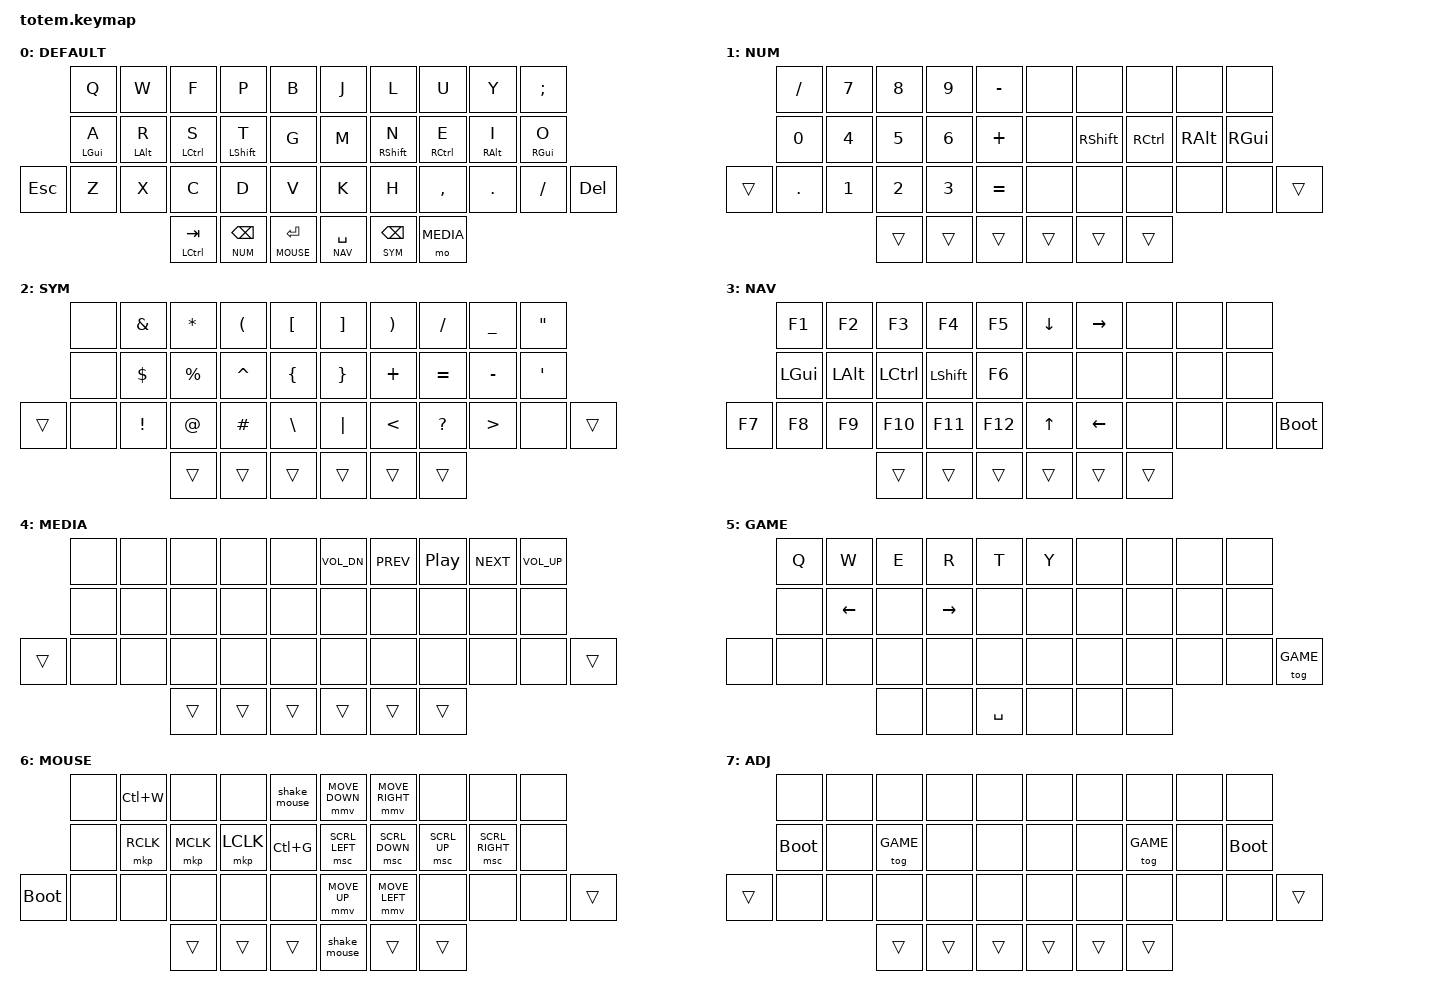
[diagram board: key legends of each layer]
//
//                                                        ▀▀▀▀▀     ▀▀▀▀▀          ▀▀█▀▀
//                                                        ▄▀▀▀▄  ▄  ▄▀▀▀▄  ▄  ▄▀▀▀▄  █  ▄▀▀▀▄
//                                                        █   █  █  █   █  █  █   █  █  █   █
//                                                         ▀▀▀   █   ▀▀▀   █   ▀▀▀   ▀   ▀▀▀
//                                                               █      ▄▄▄█▄▄▄    █   █  
//                                                               ▀      █  █  █     █▄█
//                                                             ▀▀▀▀▀    █  █  █      ▀
//                                                                      ▀  ▀  ▀
//
// ▄▄▄▄▄▄▄▄▄▄▄▄▄▄▄▄▄▄▄▄▄▄▄▄▄▄▄▄▄▄▄▄▄▄▄▄▄▄▄▄▄▄▄▄▄▄▄▄▄▄▄▄▄▄▄▄▄▄▄▄▄▄▄▄▄▄▄▄▄▄▄▄▄▄▄▄▄▄▄▄▄▄▄▄▄▄▄▄▄▄▄▄▄▄▄▄▄▄▄▄▄▄▄▄▄▄▄▄▄▄▄▄▄▄▄▄▄▄▄▄▄▄▄▄▄▄▄▄▄▄▄▄▄▄▄▄▄▄▄▄▄▄▄▄▄▄▄▄▄

#include <dt-bindings/zmk/mouse.h>
#include <behaviors.dtsi>
#include <dt-bindings/zmk/keys.h>
#include <dt-bindings/zmk/pointing.h>

#define DEFAULT 0
#define NUM     1
#define SYM     2
#define NAV     3
#define MEDIA   4
#define GAME    5
#define MOUSE   6
#define ADJ     7

&lt { quick-tap-ms = <180>; };

/ {
    behaviors {
        hrl: hrl {
            compatible = "zmk,behavior-hold-tap";
            label = "HRL";
            bindings = <&kp>, <&kp>;

            #binding-cells = <2>;
            tapping-term-ms = <250>;
            quick-tap-ms = <175>;
            require-prior-idle-ms = <150>;
            flavor = "balanced";
            hold-trigger-key-positions = <5 6 7 8 9 15 16 17 18 19 26 27 28 29 30 31 35 36 37>;
        };

        hrr: hrr {
            compatible = "zmk,behavior-hold-tap";
            label = "HRR";
            bindings = <&kp>, <&kp>;

            #binding-cells = <2>;
            tapping-term-ms = <250>;
            quick-tap-ms = <175>;
            require-prior-idle-ms = <150>;
            flavor = "balanced";
            hold-trigger-key-positions = <0 1 2 3 4 10 11 12 13 14 20 21 22 23 24 25 32 33 34>;
        };

        lt_alt: lt_alt {
            compatible = "zmk,behavior-hold-tap";
            label = "LT_ALT";
            bindings = <&mo>, <&kp>;

            #binding-cells = <2>;
            tapping-term-ms = <200>;
            quick-tap-ms = <180>;
            flavor = "tap-preferred";
        };
    };

    combos {
        compatible = "zmk,combos";

        combo_esc {
            timeout-ms = <50>;
            key-positions = <0 1>;
            bindings = <&kp ESC>;
        };

        combo_tab {
            bindings = <&kp TAB>;
            key-positions = <2 3>;
        };

        combo_caps_word {
            bindings = <&caps_word>;
            key-positions = <28 29>;
        };
    };

    macros {
        shake_mouse: shake_mouse {
            compatible = "zmk,behavior-macro";
            #binding-cells = <0>;
            wait-ms = <0>;
            tap-ms = <0>;
            bindings =
                <&macro_press>,
                <&mmv MOVE_LEFT>,
                <&macro_wait_time 100>,
                <&macro_release>,
                <&mmv MOVE_LEFT>,
                <&macro_press>,
                <&mmv MOVE_RIGHT>,
                <&macro_wait_time 100>,
                <&macro_release>,
                <&mmv MOVE_RIGHT>;
        };
    };

    conditional_layers {
        compatible = "zmk,conditional-layers";

        tri_layer {
            if-layers = <NUM SYM>;
            then-layer = <ADJ>;
        };
    };

    keymap {
        compatible = "zmk,keymap";

        // ▄▄▄▄▄▄▄▄▄▄▄▄▄▄▄▄▄▄▄▄▄▄▄▄▄▄▄▄▄▄▄▄▄▄▄▄▄▄▄▄▄▄▄▄▄▄▄▄▄▄▄▄▄▄▄▄▄▄▄▄▄▄▄▄▄▄▄▄▄▄▄▄▄▄▄▄▄▄▄▄▄▄▄▄▄▄▄▄▄▄▄▄▄▄▄▄▄▄▄▄▄▄▄▄▄▄▄▄▄▄▄▄▄▄▄▄▄▄▄▄▄▄▄▄▄▄▄▄▄▄▄▄▄▄▄▄▄▄▄▄▄▄▄▄▄▄▄▄▄

        default_layer {
            // ┏━━━━━━━━━━━━━━━━━━━━━━━━━━━━━━━━━━━━━━━┓

            label = "DEFAULT";

            // ┗━━━━━━━━━━━━━━━━━━━━━━━━━━━━━━━━━━━━━━━┛
            //             ┏━━━━━━━━━━━┳━━━━━━━━━━━┳━━━━━━━━━━━┳━━━━━━━━━━━┳━━━━━━━━━━━┓   ┏━━━━━━━━━━━┳━━━━━━━━━━━┳━━━━━━━━━━━┳━━━━━━━━━━━┳━━━━━━━━━━━┓
            //             ┃     Q     ┃     W     ┃     F     ┃     P     ┃     B     ┃   ┃     J     ┃     L     ┃     U     ┃     Y     ┃     ;     ┃
            //             ┣━━━━━━━━━━━╋━━━━━━━━━━━╋━━━━━━━━━━━╋━━━━━━━━━━━╋━━━━━━━━━━━┫   ┣━━━━━━━━━━━╋━━━━━━━━━━━╋━━━━━━━━━━━╋━━━━━━━━━━━╋━━━━━━━━━━━┫
            //             ┃  A/GUI    ┃  R/ALT    ┃  S/CTL    ┃  T/SHFT   ┃     G     ┃   ┃     M     ┃  N/SHFT   ┃  E/CTL    ┃  I/ALT    ┃  O/GUI    ┃
            // ┏━━━━━━━━━━━╋━━━━━━━━━━━╋━━━━━━━━━━━╋━━━━━━━━━━━╋━━━━━━━━━━━╋━━━━━━━━━━━┫   ┣━━━━━━━━━━━╋━━━━━━━━━━━╋━━━━━━━━━━━╋━━━━━━━━━━━╋━━━━━━━━━━━╋━━━━━━━━━━━┓
            // ┃    ESC    ┃     Z     ┃     X     ┃     C     ┃     D     ┃     V     ┃   ┃     K     ┃     H     ┃     ,     ┃     .     ┃     /     ┃    DEL    ┃
            // ┗━━━━━━━━━━━┻━━━━━━━━━━━┻━━━━━━━━━━━╋━━━━━━━━━━━╋━━━━━━━━━━━╋━━━━━━━━━━━┫   ┣━━━━━━━━━━━╋━━━━━━━━━━━╋━━━━━━━━━━━╋━━━━━━━━━━━┻━━━━━━━━━━━┻━━━━━━━━━━━┛
            //                                     ┃ LCTL/TAB  ┃ NUM/BSPC  ┃ MSE/ENT   ┃   ┃ NAV/SPC   ┃ SYM/BSPC  ┃   MEDIA   ┃
            //                                     ┗━━━━━━━━━━━┻━━━━━━━━━━━┻━━━━━━━━━━━┛   ┗━━━━━━━━━━━┻━━━━━━━━━━━┻━━━━━━━━━━━┛

            bindings = <
         &kp Q        &kp W        &kp F          &kp P         &kp B            &kp J          &kp L         &kp U         &kp Y        &kp SEMI
         &hrl LGUI A  &hrl LALT R  &hrl LCTRL S   &hrl LSHFT T  &kp G            &kp M          &hrr RSHFT N  &hrr RCTRL E  &hrr RALT I  &hrr RGUI O
&kp ESC  &kp Z        &kp X        &kp C          &kp D         &kp V            &kp K          &kp H         &kp COMMA     &kp DOT      &kp FSLH     &kp DEL
                                   &mt LCTRL TAB  &lt NUM BSPC  &lt MOUSE RET    &lt NAV SPACE  &lt SYM BSPC  &mo MEDIA
            >;
        };

        // ▄▄▄▄▄▄▄▄▄▄▄▄▄▄▄▄▄▄▄▄▄▄▄▄▄▄▄▄▄▄▄▄▄▄▄▄▄▄▄▄▄▄▄▄▄▄▄▄▄▄▄▄▄▄▄▄▄▄▄▄▄▄▄▄▄▄▄▄▄▄▄▄▄▄▄▄▄▄▄▄▄▄▄▄▄▄▄▄▄▄▄▄▄▄▄▄▄▄▄▄▄▄▄▄▄▄▄▄▄▄▄▄▄▄▄▄▄▄▄▄▄▄▄▄▄▄▄▄▄▄▄▄▄▄▄▄▄▄▄▄▄▄▄▄▄▄▄▄▄

        num_layer {
            // ┏━━━━━━━━━━━━━━━━━━━━━━━━━━━━━━━━━━━━━━━┓

            label = "NUM";

            // ┗━━━━━━━━━━━━━━━━━━━━━━━━━━━━━━━━━━━━━━━┛
            //             ┏━━━━━━━━━━━┳━━━━━━━━━━━┳━━━━━━━━━━━┳━━━━━━━━━━━┳━━━━━━━━━━━┓   ┏━━━━━━━━━━━┳━━━━━━━━━━━┳━━━━━━━━━━━┳━━━━━━━━━━━┳━━━━━━━━━━━┓
            //             ┃     /     ┃     7     ┃     8     ┃     9     ┃     -     ┃   ┃           ┃           ┃           ┃           ┃           ┃
            //             ┣━━━━━━━━━━━╋━━━━━━━━━━━╋━━━━━━━━━━━╋━━━━━━━━━━━╋━━━━━━━━━━━┫   ┣━━━━━━━━━━━╋━━━━━━━━━━━╋━━━━━━━━━━━╋━━━━━━━━━━━╋━━━━━━━━━━━┫
            //             ┃     0     ┃     4     ┃     5     ┃     6     ┃     +     ┃   ┃           ┃   SHFT    ┃   CTRL    ┃    ALT    ┃    GUI    ┃
            // ┏━━━━━━━━━━━╋━━━━━━━━━━━╋━━━━━━━━━━━╋━━━━━━━━━━━╋━━━━━━━━━━━╋━━━━━━━━━━━┫   ┣━━━━━━━━━━━╋━━━━━━━━━━━╋━━━━━━━━━━━╋━━━━━━━━━━━╋━━━━━━━━━━━╋━━━━━━━━━━━┓
            // ┃           ┃     .     ┃     1     ┃     2     ┃     3     ┃     =     ┃   ┃           ┃           ┃           ┃           ┃           ┃           ┃
            // ┗━━━━━━━━━━━┻━━━━━━━━━━━┻━━━━━━━━━━━╋━━━━━━━━━━━╋━━━━━━━━━━━╋━━━━━━━━━━━┫   ┣━━━━━━━━━━━╋━━━━━━━━━━━╋━━━━━━━━━━━╋━━━━━━━━━━━┻━━━━━━━━━━━┻━━━━━━━━━━━┛
            //                                     ┃     ▼     ┃     ▼     ┃     ▼     ┃   ┃     ▼     ┃     ▼     ┃     ▼     ┃
            //                                     ┗━━━━━━━━━━━┻━━━━━━━━━━━┻━━━━━━━━━━━┛   ┗━━━━━━━━━━━┻━━━━━━━━━━━┻━━━━━━━━━━━┛

            bindings = <
        &kp FSLH  &kp N7  &kp N8  &kp N9  &kp MINUS    &none   &none      &none      &none     &none
        &kp N0    &kp N4  &kp N5  &kp N6  &kp PLUS     &none   &kp RSHFT  &kp RCTRL  &kp RALT  &kp RGUI
&trans  &kp DOT   &kp N1  &kp N2  &kp N3  &kp EQUAL    &none   &none      &none      &none     &none     &trans
                          &trans  &trans  &trans       &trans  &trans     &trans
            >;
        };

        // ▄▄▄▄▄▄▄▄▄▄▄▄▄▄▄▄▄▄▄▄▄▄▄▄▄▄▄▄▄▄▄▄▄▄▄▄▄▄▄▄▄▄▄▄▄▄▄▄▄▄▄▄▄▄▄▄▄▄▄▄▄▄▄▄▄▄▄▄▄▄▄▄▄▄▄▄▄▄▄▄▄▄▄▄▄▄▄▄▄▄▄▄▄▄▄▄▄▄▄▄▄▄▄▄▄▄▄▄▄▄▄▄▄▄▄▄▄▄▄▄▄▄▄▄▄▄▄▄▄▄▄▄▄▄▄▄▄▄▄▄▄▄▄▄▄▄▄▄▄

        sym_layer {
            // ┏━━━━━━━━━━━━━━━━━━━━━━━━━━━━━━━━━━━━━━━┓

            label = "SYM";

            // ┗━━━━━━━━━━━━━━━━━━━━━━━━━━━━━━━━━━━━━━━┛
            //             ┏━━━━━━━━━━━┳━━━━━━━━━━━┳━━━━━━━━━━━┳━━━━━━━━━━━┳━━━━━━━━━━━┓   ┏━━━━━━━━━━━┳━━━━━━━━━━━┳━━━━━━━━━━━┳━━━━━━━━━━━┳━━━━━━━━━━━┓
            //             ┃           ┃     &     ┃     *     ┃     (     ┃     [     ┃   ┃     ]     ┃     )     ┃     /     ┃     _     ┃     "     ┃
            //             ┣━━━━━━━━━━━╋━━━━━━━━━━━╋━━━━━━━━━━━╋━━━━━━━━━━━╋━━━━━━━━━━━┫   ┣━━━━━━━━━━━╋━━━━━━━━━━━╋━━━━━━━━━━━╋━━━━━━━━━━━╋━━━━━━━━━━━┫
            //             ┃           ┃     $     ┃     %     ┃     ^     ┃     {     ┃   ┃     }     ┃     +     ┃     =     ┃     -     ┃     '     ┃
            // ┏━━━━━━━━━━━╋━━━━━━━━━━━╋━━━━━━━━━━━╋━━━━━━━━━━━╋━━━━━━━━━━━╋━━━━━━━━━━━┫   ┣━━━━━━━━━━━╋━━━━━━━━━━━╋━━━━━━━━━━━╋━━━━━━━━━━━╋━━━━━━━━━━━╋━━━━━━━━━━━┓
            // ┃           ┃           ┃     !     ┃     @     ┃     #     ┃     \     ┃   ┃     |     ┃     <     ┃     ?     ┃     >     ┃           ┃           ┃
            // ┗━━━━━━━━━━━┻━━━━━━━━━━━┻━━━━━━━━━━━╋━━━━━━━━━━━╋━━━━━━━━━━━╋━━━━━━━━━━━┫   ┣━━━━━━━━━━━╋━━━━━━━━━━━╋━━━━━━━━━━━╋━━━━━━━━━━━┻━━━━━━━━━━━┻━━━━━━━━━━━┛
            //                                     ┃     ▼     ┃     ▼     ┃     ▼     ┃   ┃     ▼     ┃     ▼     ┃     ▼     ┃
            //                                     ┗━━━━━━━━━━━┻━━━━━━━━━━━┻━━━━━━━━━━━┛   ┗━━━━━━━━━━━┻━━━━━━━━━━━┻━━━━━━━━━━━┛

            bindings = <
        &none  &kp AMPS  &kp ASTRK  &kp LPAR   &kp LBKT    &kp RBKT  &kp RPAR  &kp FSLH   &kp UNDER  &kp DQT
        &none  &kp DLLR  &kp PRCNT  &kp CARET  &kp LBRC    &kp RBRC  &kp PLUS  &kp EQUAL  &kp MINUS  &kp SQT
&trans  &none  &kp EXCL  &kp AT     &kp HASH   &kp BSLH    &kp PIPE  &kp LT    &kp QMARK  &kp GT     &none    &trans
                         &trans     &trans     &trans      &trans    &trans    &trans
            >;
        };

        // ▄▄▄▄▄▄▄▄▄▄▄▄▄▄▄▄▄▄▄▄▄▄▄▄▄▄▄▄▄▄▄▄▄▄▄▄▄▄▄▄▄▄▄▄▄▄▄▄▄▄▄▄▄▄▄▄▄▄▄▄▄▄▄▄▄▄▄▄▄▄▄▄▄▄▄▄▄▄▄▄▄▄▄▄▄▄▄▄▄▄▄▄▄▄▄▄▄▄▄▄▄▄▄▄▄▄▄▄▄▄▄▄▄▄▄▄▄▄▄▄▄▄▄▄▄▄▄▄▄▄▄▄▄▄▄▄▄▄▄▄▄▄▄▄▄▄▄▄▄

        nav_layer {
            // ┏━━━━━━━━━━━━━━━━━━━━━━━━━━━━━━━━━━━━━━━┓

            label = "NAV";

            // ┗━━━━━━━━━━━━━━━━━━━━━━━━━━━━━━━━━━━━━━━┛
            //             ┏━━━━━━━━━━━┳━━━━━━━━━━━┳━━━━━━━━━━━┳━━━━━━━━━━━┳━━━━━━━━━━━┓   ┏━━━━━━━━━━━┳━━━━━━━━━━━┳━━━━━━━━━━━┳━━━━━━━━━━━┳━━━━━━━━━━━┓
            //             ┃    F1     ┃    F2     ┃    F3     ┃    F4     ┃    F5     ┃   ┃   DOWN    ┃   RIGHT   ┃           ┃           ┃           ┃
            //             ┣━━━━━━━━━━━╋━━━━━━━━━━━╋━━━━━━━━━━━╋━━━━━━━━━━━╋━━━━━━━━━━━┫   ┣━━━━━━━━━━━╋━━━━━━━━━━━╋━━━━━━━━━━━╋━━━━━━━━━━━╋━━━━━━━━━━━┫
            //             ┃    GUI    ┃    ALT    ┃   CTRL    ┃   SHFT    ┃    F6     ┃   ┃           ┃           ┃           ┃           ┃           ┃
            // ┏━━━━━━━━━━━╋━━━━━━━━━━━╋━━━━━━━━━━━╋━━━━━━━━━━━╋━━━━━━━━━━━╋━━━━━━━━━━━┫   ┣━━━━━━━━━━━╋━━━━━━━━━━━╋━━━━━━━━━━━╋━━━━━━━━━━━╋━━━━━━━━━━━╋━━━━━━━━━━━┓
            // ┃    F7     ┃    F8     ┃    F9     ┃    F10    ┃    F11    ┃    F12    ┃   ┃    UP     ┃   LEFT    ┃           ┃           ┃           ┃           ┃
            // ┗━━━━━━━━━━━┻━━━━━━━━━━━┻━━━━━━━━━━━╋━━━━━━━━━━━╋━━━━━━━━━━━╋━━━━━━━━━━━┫   ┣━━━━━━━━━━━╋━━━━━━━━━━━╋━━━━━━━━━━━╋━━━━━━━━━━━┻━━━━━━━━━━━┻━━━━━━━━━━━┛
            //                                     ┃     ▼     ┃     ▼     ┃     ▼     ┃   ┃     ▼     ┃     ▼     ┃     ▼     ┃
            //                                     ┗━━━━━━━━━━━┻━━━━━━━━━━━┻━━━━━━━━━━━┛   ┗━━━━━━━━━━━┻━━━━━━━━━━━┻━━━━━━━━━━━┛

            bindings = <
        &kp F1    &kp F2    &kp F3     &kp F4     &kp F5     &kp DOWN  &kp RIGHT  &none   &none  &none
        &kp LGUI  &kp LALT  &kp LCTRL  &kp LSHFT  &kp F6     &none     &none      &none   &none  &none
&kp F7  &kp F8    &kp F9    &kp F10    &kp F11    &kp F12    &kp UP    &kp LEFT   &none   &none  &none  &bootloader
                            &trans     &trans     &trans     &trans    &trans     &trans
            >;
        };

        // ▄▄▄▄▄▄▄▄▄▄▄▄▄▄▄▄▄▄▄▄▄▄▄▄▄▄▄▄▄▄▄▄▄▄▄▄▄▄▄▄▄▄▄▄▄▄▄▄▄▄▄▄▄▄▄▄▄▄▄▄▄▄▄▄▄▄▄▄▄▄▄▄▄▄▄▄▄▄▄▄▄▄▄▄▄▄▄▄▄▄▄▄▄▄▄▄▄▄▄▄▄▄▄▄▄▄▄▄▄▄▄▄▄▄▄▄▄▄▄▄▄▄▄▄▄▄▄▄▄▄▄▄▄▄▄▄▄▄▄▄▄▄▄▄▄▄▄▄▄

        media_layer {
            // ┏━━━━━━━━━━━━━━━━━━━━━━━━━━━━━━━━━━━━━━━┓

            label = "MEDIA";

            // ┗━━━━━━━━━━━━━━━━━━━━━━━━━━━━━━━━━━━━━━━┛
            //             ┏━━━━━━━━━━━┳━━━━━━━━━━━┳━━━━━━━━━━━┳━━━━━━━━━━━┳━━━━━━━━━━━┓   ┏━━━━━━━━━━━┳━━━━━━━━━━━┳━━━━━━━━━━━┳━━━━━━━━━━━┳━━━━━━━━━━━┓
            //             ┃           ┃           ┃           ┃           ┃           ┃   ┃  VOL DN   ┃   PREV    ┃   PLAY    ┃   NEXT    ┃  VOL UP   ┃
            //             ┣━━━━━━━━━━━╋━━━━━━━━━━━╋━━━━━━━━━━━╋━━━━━━━━━━━╋━━━━━━━━━━━┫   ┣━━━━━━━━━━━╋━━━━━━━━━━━╋━━━━━━━━━━━╋━━━━━━━━━━━╋━━━━━━━━━━━┫
            //             ┃           ┃           ┃           ┃           ┃           ┃   ┃           ┃           ┃           ┃           ┃           ┃
            // ┏━━━━━━━━━━━╋━━━━━━━━━━━╋━━━━━━━━━━━╋━━━━━━━━━━━╋━━━━━━━━━━━╋━━━━━━━━━━━┫   ┣━━━━━━━━━━━╋━━━━━━━━━━━╋━━━━━━━━━━━╋━━━━━━━━━━━╋━━━━━━━━━━━╋━━━━━━━━━━━┓
            // ┃           ┃           ┃           ┃           ┃           ┃           ┃   ┃           ┃           ┃           ┃           ┃           ┃           ┃
            // ┗━━━━━━━━━━━┻━━━━━━━━━━━┻━━━━━━━━━━━╋━━━━━━━━━━━╋━━━━━━━━━━━╋━━━━━━━━━━━┫   ┣━━━━━━━━━━━╋━━━━━━━━━━━╋━━━━━━━━━━━╋━━━━━━━━━━━┻━━━━━━━━━━━┻━━━━━━━━━━━┛
            //                                     ┃     ▼     ┃     ▼     ┃     ▼     ┃   ┃     ▼     ┃     ▼     ┃     ▼     ┃
            //                                     ┗━━━━━━━━━━━┻━━━━━━━━━━━┻━━━━━━━━━━━┛   ┗━━━━━━━━━━━┻━━━━━━━━━━━┻━━━━━━━━━━━┛

            bindings = <
        &none  &none  &none   &none   &none     &kp C_VOL_DN  &kp C_PREV  &kp C_PP  &kp C_NEXT  &kp C_VOL_UP
        &none  &none  &none   &none   &none     &none         &none       &none     &none       &none
&trans  &none  &none  &none   &none   &none     &none         &none       &none     &none       &none         &trans
                      &trans  &trans  &trans    &trans        &trans      &trans
            >;
        };

        // ▄▄▄▄▄▄▄▄▄▄▄▄▄▄▄▄▄▄▄▄▄▄▄▄▄▄▄▄▄▄▄▄▄▄▄▄▄▄▄▄▄▄▄▄▄▄▄▄▄▄▄▄▄▄▄▄▄▄▄▄▄▄▄▄▄▄▄▄▄▄▄▄▄▄▄▄▄▄▄▄▄▄▄▄▄▄▄▄▄▄▄▄▄▄▄▄▄▄▄▄▄▄▄▄▄▄▄▄▄▄▄▄▄▄▄▄▄▄▄▄▄▄▄▄▄▄▄▄▄▄▄▄▄▄▄▄▄▄▄▄▄▄▄▄▄▄▄▄▄

        game_layer {
            // ┏━━━━━━━━━━━━━━━━━━━━━━━━━━━━━━━━━━━━━━━┓

            label = "GAME";

            // ┗━━━━━━━━━━━━━━━━━━━━━━━━━━━━━━━━━━━━━━━┛
            //             ┏━━━━━━━━━━━┳━━━━━━━━━━━┳━━━━━━━━━━━┳━━━━━━━━━━━┳━━━━━━━━━━━┓   ┏━━━━━━━━━━━┳━━━━━━━━━━━┳━━━━━━━━━━━┳━━━━━━━━━━━┳━━━━━━━━━━━┓
            //             ┃     Q     ┃     W     ┃     E     ┃     R     ┃     T     ┃   ┃     Y     ┃           ┃           ┃           ┃           ┃
            //             ┣━━━━━━━━━━━╋━━━━━━━━━━━╋━━━━━━━━━━━╋━━━━━━━━━━━╋━━━━━━━━━━━┫   ┣━━━━━━━━━━━╋━━━━━━━━━━━╋━━━━━━━━━━━╋━━━━━━━━━━━╋━━━━━━━━━━━┫
            //             ┃           ┃   LEFT    ┃           ┃   RIGHT   ┃           ┃   ┃           ┃           ┃           ┃           ┃           ┃
            // ┏━━━━━━━━━━━╋━━━━━━━━━━━╋━━━━━━━━━━━╋━━━━━━━━━━━╋━━━━━━━━━━━╋━━━━━━━━━━━┫   ┣━━━━━━━━━━━╋━━━━━━━━━━━╋━━━━━━━━━━━╋━━━━━━━━━━━╋━━━━━━━━━━━╋━━━━━━━━━━━┓
            // ┃           ┃           ┃           ┃           ┃           ┃           ┃   ┃           ┃           ┃           ┃           ┃           ┃  TG GAME  ┃
            // ┗━━━━━━━━━━━┻━━━━━━━━━━━┻━━━━━━━━━━━╋━━━━━━━━━━━╋━━━━━━━━━━━╋━━━━━━━━━━━┫   ┣━━━━━━━━━━━╋━━━━━━━━━━━╋━━━━━━━━━━━╋━━━━━━━━━━━┻━━━━━━━━━━━┻━━━━━━━━━━━┛
            //                                     ┃           ┃           ┃   SPACE   ┃   ┃           ┃           ┃           ┃
            //                                     ┗━━━━━━━━━━━┻━━━━━━━━━━━┻━━━━━━━━━━━┛   ┗━━━━━━━━━━━┻━━━━━━━━━━━┻━━━━━━━━━━━┛

            bindings = <
       &kp Q  &kp W     &kp E  &kp R      &kp T        &kp Y  &none  &none  &none  &none
       &none  &kp LEFT  &none  &kp RIGHT  &none        &none  &none  &none  &none  &none
&none  &none  &none     &none  &none      &none        &none  &none  &none  &none  &none  &tog GAME
                        &none  &none      &kp SPACE    &none  &none  &none
            >;
        };

        // ▄▄▄▄▄▄▄▄▄▄▄▄▄▄▄▄▄▄▄▄▄▄▄▄▄▄▄▄▄▄▄▄▄▄▄▄▄▄▄▄▄▄▄▄▄▄▄▄▄▄▄▄▄▄▄▄▄▄▄▄▄▄▄▄▄▄▄▄▄▄▄▄▄▄▄▄▄▄▄▄▄▄▄▄▄▄▄▄▄▄▄▄▄▄▄▄▄▄▄▄▄▄▄▄▄▄▄▄▄▄▄▄▄▄▄▄▄▄▄▄▄▄▄▄▄▄▄▄▄▄▄▄▄▄▄▄▄▄▄▄▄▄▄▄▄▄▄▄▄

        mouse_layer {
            // ┏━━━━━━━━━━━━━━━━━━━━━━━━━━━━━━━━━━━━━━━┓

            label = "MOUSE";

            // ┗━━━━━━━━━━━━━━━━━━━━━━━━━━━━━━━━━━━━━━━┛
            //             ┏━━━━━━━━━━━┳━━━━━━━━━━━┳━━━━━━━━━━━┳━━━━━━━━━━━┳━━━━━━━━━━━┓   ┏━━━━━━━━━━━┳━━━━━━━━━━━┳━━━━━━━━━━━┳━━━━━━━━━━━┳━━━━━━━━━━━┓
            //             ┃           ┃  LC(W)    ┃           ┃           ┃   SHAKE   ┃   ┃  MS DOWN  ┃  MS RGHT  ┃           ┃           ┃           ┃
            //             ┣━━━━━━━━━━━╋━━━━━━━━━━━╋━━━━━━━━━━━╋━━━━━━━━━━━╋━━━━━━━━━━━┫   ┣━━━━━━━━━━━╋━━━━━━━━━━━╋━━━━━━━━━━━╋━━━━━━━━━━━╋━━━━━━━━━━━┫
            //             ┃           ┃   BTN2    ┃   BTN3    ┃   BTN1    ┃  LC(G)    ┃   ┃  WHL LFT  ┃  WHL DWN  ┃  WHL UP   ┃  WHL RGT  ┃           ┃
            // ┏━━━━━━━━━━━╋━━━━━━━━━━━╋━━━━━━━━━━━╋━━━━━━━━━━━╋━━━━━━━━━━━╋━━━━━━━━━━━┫   ┣━━━━━━━━━━━╋━━━━━━━━━━━╋━━━━━━━━━━━╋━━━━━━━━━━━╋━━━━━━━━━━━╋━━━━━━━━━━━┓
            // ┃           ┃           ┃           ┃           ┃           ┃           ┃   ┃   MS UP   ┃  MS LEFT  ┃           ┃           ┃           ┃           ┃
            // ┗━━━━━━━━━━━┻━━━━━━━━━━━┻━━━━━━━━━━━╋━━━━━━━━━━━╋━━━━━━━━━━━╋━━━━━━━━━━━┫   ┣━━━━━━━━━━━╋━━━━━━━━━━━╋━━━━━━━━━━━╋━━━━━━━━━━━┻━━━━━━━━━━━┻━━━━━━━━━━━┛
            //                                     ┃     ▼     ┃     ▼     ┃     ▼     ┃   ┃   SHAKE   ┃     ▼     ┃     ▼     ┃
            //                                     ┗━━━━━━━━━━━┻━━━━━━━━━━━┻━━━━━━━━━━━┛   ┗━━━━━━━━━━━┻━━━━━━━━━━━┻━━━━━━━━━━━┛

            bindings = <
             &none  &kp LC(W)  &none      &none      &shake_mouse    &mmv MOVE_DOWN  &mmv MOVE_RIGHT  &none         &none            &none
             &none  &mkp RCLK  &mkp MCLK  &mkp LCLK  &kp LC(G)       &msc SCRL_LEFT  &msc SCRL_DOWN   &msc SCRL_UP  &msc SCRL_RIGHT  &none
&bootloader  &none  &none      &none      &none      &none           &mmv MOVE_UP    &mmv MOVE_LEFT   &none         &none            &none  &trans
                               &trans     &trans     &trans          &shake_mouse    &trans           &trans
            >;
        };

        // ▄▄▄▄▄▄▄▄▄▄▄▄▄▄▄▄▄▄▄▄▄▄▄▄▄▄▄▄▄▄▄▄▄▄▄▄▄▄▄▄▄▄▄▄▄▄▄▄▄▄▄▄▄▄▄▄▄▄▄▄▄▄▄▄▄▄▄▄▄▄▄▄▄▄▄▄▄▄▄▄▄▄▄▄▄▄▄▄▄▄▄▄▄▄▄▄▄▄▄▄▄▄▄▄▄▄▄▄▄▄▄▄▄▄▄▄▄▄▄▄▄▄▄▄▄▄▄▄▄▄▄▄▄▄▄▄▄▄▄▄▄▄▄▄▄▄▄▄▄

        adjust_layer {
            // ┏━━━━━━━━━━━━━━━━━━━━━━━━━━━━━━━━━━━━━━━┓

            label = "ADJ";

            // ┗━━━━━━━━━━━━━━━━━━━━━━━━━━━━━━━━━━━━━━━┛
            //             ┏━━━━━━━━━━━┳━━━━━━━━━━━┳━━━━━━━━━━━┳━━━━━━━━━━━┳━━━━━━━━━━━┓   ┏━━━━━━━━━━━┳━━━━━━━━━━━┳━━━━━━━━━━━┳━━━━━━━━━━━┳━━━━━━━━━━━┓
            //             ┃           ┃           ┃           ┃           ┃           ┃   ┃           ┃           ┃           ┃           ┃           ┃
            //             ┣━━━━━━━━━━━╋━━━━━━━━━━━╋━━━━━━━━━━━╋━━━━━━━━━━━╋━━━━━━━━━━━┫   ┣━━━━━━━━━━━╋━━━━━━━━━━━╋━━━━━━━━━━━╋━━━━━━━━━━━╋━━━━━━━━━━━┫
            //             ┃ BOOTLOAD  ┃           ┃  TG GAME  ┃           ┃           ┃   ┃           ┃           ┃  TG GAME  ┃           ┃ BOOTLOAD  ┃
            // ┏━━━━━━━━━━━╋━━━━━━━━━━━╋━━━━━━━━━━━╋━━━━━━━━━━━╋━━━━━━━━━━━╋━━━━━━━━━━━┫   ┣━━━━━━━━━━━╋━━━━━━━━━━━╋━━━━━━━━━━━╋━━━━━━━━━━━╋━━━━━━━━━━━╋━━━━━━━━━━━┓
            // ┃           ┃           ┃           ┃           ┃           ┃           ┃   ┃           ┃           ┃           ┃           ┃           ┃           ┃
            // ┗━━━━━━━━━━━┻━━━━━━━━━━━┻━━━━━━━━━━━╋━━━━━━━━━━━╋━━━━━━━━━━━╋━━━━━━━━━━━┫   ┣━━━━━━━━━━━╋━━━━━━━━━━━╋━━━━━━━━━━━╋━━━━━━━━━━━┻━━━━━━━━━━━┻━━━━━━━━━━━┛
            //                                     ┃     ▼     ┃     ▼     ┃     ▼     ┃   ┃     ▼     ┃     ▼     ┃     ▼     ┃
            //                                     ┗━━━━━━━━━━━┻━━━━━━━━━━━┻━━━━━━━━━━━┛   ┗━━━━━━━━━━━┻━━━━━━━━━━━┻━━━━━━━━━━━┛

            bindings = <
        &none        &none  &none      &none   &none     &none   &none   &none      &none  &none
        &bootloader  &none  &tog GAME  &none   &none     &none   &none   &tog GAME  &none  &bootloader
&trans  &none        &none  &none      &none   &none     &none   &none   &none      &none  &none        &trans
                            &trans     &trans  &trans    &trans  &trans  &trans
            >;
        };
    };
};
